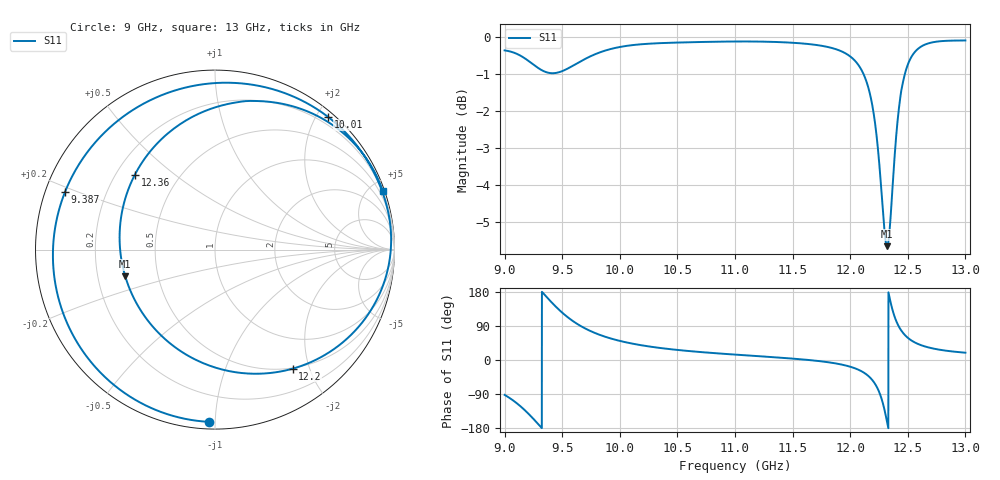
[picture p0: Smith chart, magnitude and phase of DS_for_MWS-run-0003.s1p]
! TOUCHSTONE file generated by CST DESIGN STUDIO
! Date and time: Tue Feb  4 14:01:36 2025
! Project name: C:\Work\MatlabApps\UnitCellOptimizationMatlab\CST\unitcell.cst
! Tree item: Tasks\Sweep1\SPara1\S-Parameters
! Header version: 2024
! Port assignment regex: !\s*Touchstone port\s*([0-9]+)\s*=\s*(CST MWS port|CST DES external port|CST DES block port)\s*(.+)\s* \(\"(.*)\"\)(\s*mode\s*([0-9]+))?.*
! Touchstone port assignment:
! Touchstone port 1 = CST DES external port 1 ("")
# GHz S MA R 50
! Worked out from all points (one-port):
!   4001 points, 9 GHz to 13 GHz, reference 50 ohm
!   lowest |S11| = -5.6 dB at 12.32 GHz (marker M1), VSWR 3.18, Z = 16 - j6.59 ohm
!   |S11| at or under -10 dB: nowhere
!   S11 on the Smith chart (normalised r, x): 9 GHz: 0.04, -0.96; 9.387 GHz: 0.06, +0.19; 10.01 GHz: 0.08, +2.16; 12.2 GHz: 0.49, -1.74; 12.36 GHz: 0.28, +0.37; 13 GHz: 0.17, +5.88
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9  0.9602 -92.0
9.093  0.9519 -111.1
9.175  0.9369 -132.4
9.286  0.9102 -167.2
9.387  0.8951 158.9
9.5  0.9002 125.0
9.582  0.9135 105.1
9.679  0.9315 86.5
9.829  0.9546 66.0
10  0.9705 50.4
10.011  0.9712 49.6
10.5  0.984 26.6
11  0.9873 14.3
11.5  0.9834 3.7
11.8  0.9709 -5.5
12  0.9424 -17.7
12.121  0.8882 -33.8
12.202  0.7921 -56.9
12.267  0.6318 -97.3
12.293  0.5583 -125.3
12.32  0.5218 -163.3
12.363  0.6109 137.0
12.39  0.7054 110.4
12.419  0.7916 90.1
12.5  0.9186 58.6
12.57  0.9589 44.9
12.665  0.9799 34.3
13  0.9904 19.3
